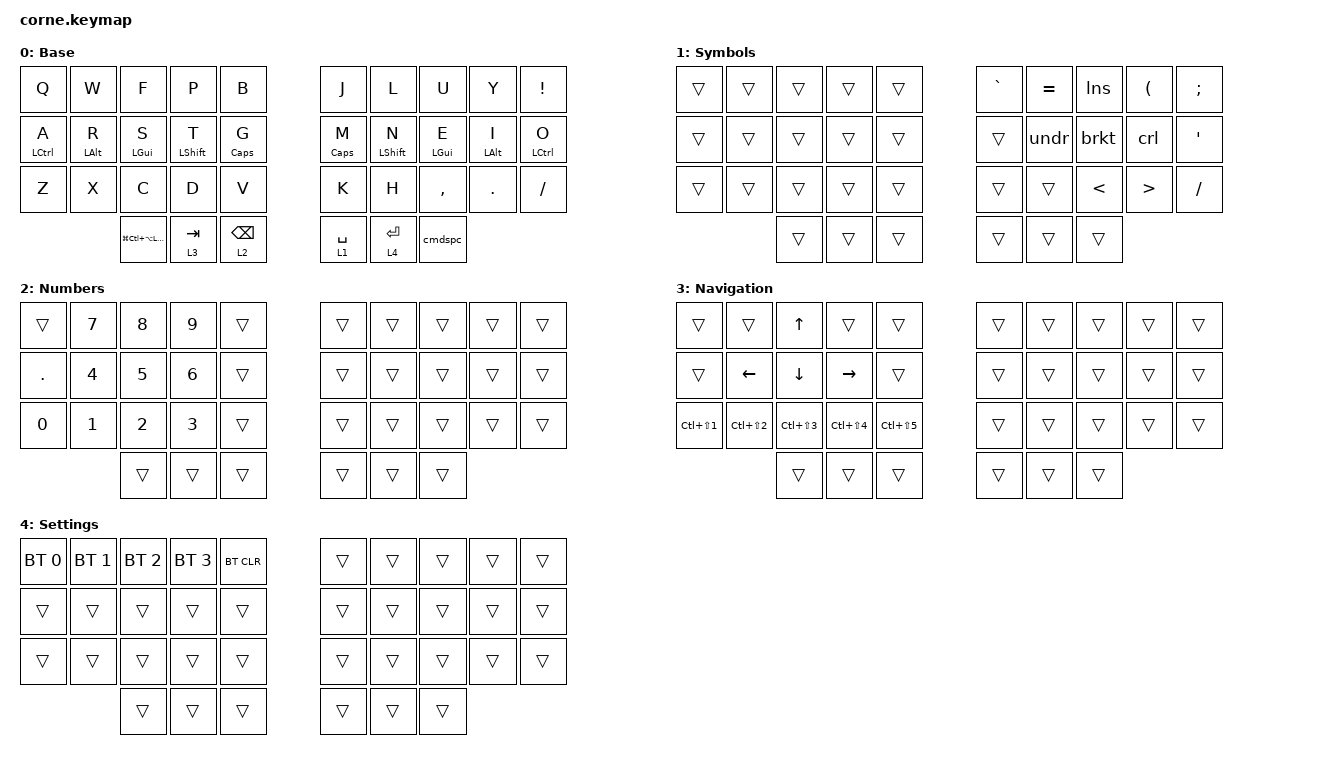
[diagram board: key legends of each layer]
/*
 * Copyright (c) 2020 The ZMK Contributors
 *
 * SPDX-License-Identifier: MIT
 */

#include <behaviors.dtsi>
#include <dt-bindings/zmk/keys.h>
#include <dt-bindings/zmk/bt.h>



/ {
    macros {
        cmdspc: cmdspc {
            compatible = "zmk,behavior-macro";
            #binding-cells = <0>;
            bindings
                = <&macro_press &kp LGUI>
                , <&macro_tap &kp SPACE>
                , <&macro_release &kp LGUI>
                ;
        };
        
 };
    behaviors {
        hml: home_row_mod_left {
            compatible = "zmk,behavior-hold-tap";
            #binding-cells = <2>;
            flavor = "balanced";
            require-prior-idle-ms = <150>;
            tapping-term-ms = <180>;
            quick-tap-ms = <175>;
            bindings = <&kp>, <&kp>;
            hold-trigger-key-positions = < J L U Y EXCLAMATION M N E I O H COMMA PERIOD FSLH >; // List of keys on the right side of the keyboard
            hold-trigger-on-release;
        };
        hmr: home_row_mod_right {
            compatible = "zmk,behavior-hold-tap";
            #binding-cells = <2>;
            flavor = "balanced";
            require-prior-idle-ms = <150>;
            tapping-term-ms = <180>;
            quick-tap-ms = <175>;
            bindings = <&kp>, <&kp>;
            hold-trigger-key-positions = < Q W F P B A R S T G Z X C D V >; // List of keys on the left side of the keyboard
            hold-trigger-on-release;
        };
        KHT: KHT {
            compatible = "zmk,behavior-hold-tap";
            #binding-cells = <2>;
            flavor = "tap-preferred";
            tapping-term-ms = <175>;
            bindings = <&kp>, <&kp>;
        };
       
        brkt: brkt {
            compatible = "zmk,behavior-mod-morph";
            #binding-cells = <0>;
            bindings = <&kp LBKT>, <&kp RBKT>;
            mods = <(MOD_LSFT|MOD_RSFT)>;
        };
        crl: crl {
            compatible = "zmk,behavior-mod-morph";
            #binding-cells = <0>;
            bindings = <&kp LBRC>, <&kp RBRC>;
            mods = <(MOD_LSFT|MOD_RSFT)>;
        };
        undr: undr {
            compatible = "zmk,behavior-mod-morph";
            #binding-cells = <0>;
            bindings = <&kp UNDER>, <&kp KP_MINUS>;
            mods = <(MOD_LSFT|MOD_RSFT)>;
        };
        lns: lns {
            compatible = "zmk,behavior-mod-morph";
            #binding-cells = <0>;
            bindings = <&kp PIPE>, <&kp BSLH>;
            mods = <(MOD_LSFT|MOD_RSFT)>;
        };
    };

    chosen {
        zmk,physical-layout = &foostan_corne_5col_layout;
    };

    
        keymap {
                compatible = "zmk,keymap";

                default_layer {
// -----------------------------------------------------------------------------------------
// |  Q  |  W  |  F  |  P  |  B  |     |  J  |  L   |  U   |  Y   | Z |
// |  A  |  R  |  S  |  T  |  G  |     |  M  |  N   |  E   |  I   | O | 
// |  Z  |  X  |  C  |  D  |  V  |     |  K  |  H   | CTRL | META | . |
//             | GUI | LWR | SPC |     | ENT | RSE  | BSPC |
                        display-name = "Base";
                        bindings = <
   &kp Q &kp W &kp F &kp P &kp B     &kp J   &kp L  &kp U     &kp Y     &kp EXCL
   &hml LCTRL A &hml LALT R &hml LGUI S &hml LSHFT T &KHT CAPS G     &KHT CAPS M   &hmr LSHFT N  &hmr LGUI E     &hmr LALT I     &hmr LCTRL O
   &kp Z &kp X &kp C &kp D &kp V     &kp K   &kp H  &kp COMMA  &kp DOT  &kp FSLH
        &kp LG(LC(LA(LSHIFT))) &lt 3 TAB &lt 2 BSPC     &lt 1 SPACE &lt 4 ENTER  &cmdspc
                        >;
                };

                symbols {
// -----------------------------------------------------------------------------------------
// | !     |  @  |  #  |  $  |  %  |     |  ^  |  &  |  *  |  (  |  )  |
// | BT1   | BT2 | BT3 | BT4 | BT5 |     | LFT | DWN |  UP | RGT |     |
// | BTCLR |     |     |     |     |     |     |     |     |     |     |
//               | GUI |     | SPC |     | ENT | ESC | TAB |
                        display-name = "Symbols";
                        bindings = <
   &trans     &trans       &trans     &trans     &trans        &kp GRAVE &kp EQUAL  &lns &kp LPAR  &kp SEMI
   &trans &trans &trans &trans &trans     &trans  &undr  &brkt          &crl &kp SQT 
   &trans   &trans       &trans       &trans       &trans           &trans    &trans    &kp LT          &kp GT    &kp FSLH 
                             &trans     &trans       &trans        &trans   &trans   &trans
                        >;
                };

                numbers {
// -----------------------------------------------------------------------------------------
// | 1! |  2@ |  3# |  4$ |  5% |     |  6^ |  7& |  8* |  9(  |  0)  |
// | -_ |  =+ |  {  |  [  |  (  |     |  )  |  ]  |  }  |  /?  |  \|  |
// | `~ |     |     |  ,< |  :  |     |  ;  |  .> | CTRL| META |      |
//            | GUI | ESC | SPC |     | ENT |     | TAB |
                        display-name = "Numbers";
                        bindings = <

   &trans    &kp N7    &kp N8    &kp N9    &trans        &trans    &trans    &trans    &trans   &trans
   &kp DOT &kp N4 &kp N5  &kp N6  &trans      &trans  &trans  &trans  &trans &trans
   &kp N0 &kp N1    &kp N2    &kp N3 &trans     &trans  &trans   &trans &trans &trans
                       &trans  &trans   &trans     &trans   &trans    &trans
                        >;
                };

            nav {
                    display-name = "Navigation";
                    bindings = <
                    &trans &trans &kp UP &trans &trans &trans &trans &trans &trans &trans
                    &trans &kp LEFT &kp DOWN &kp RIGHT &trans &trans &trans &trans &trans &trans
                    &kp LC(LS(N1)) &kp LC(LS(N2)) &kp LC(LS(N3)) &kp LC(LS(N4)) &kp LC(LS(N5)) &trans &trans &trans &trans &trans
                    &trans &trans &trans &trans &trans &trans
                    >;
                };

            settings {
                    display-name = "Settings";
                    bindings = <
                    &bt BT_SEL 0 &bt BT_SEL 1 &bt BT_SEL 2 &bt BT_SEL 3 &bt BT_CLR &trans &trans &trans &trans &trans
                    &trans &trans &trans &trans &trans &trans &trans &trans &trans &trans
                    &trans &trans &trans &trans &trans &trans &trans &trans &trans &trans
                    &trans &trans &trans &trans &trans &trans
                    >;
                };
        };
};
